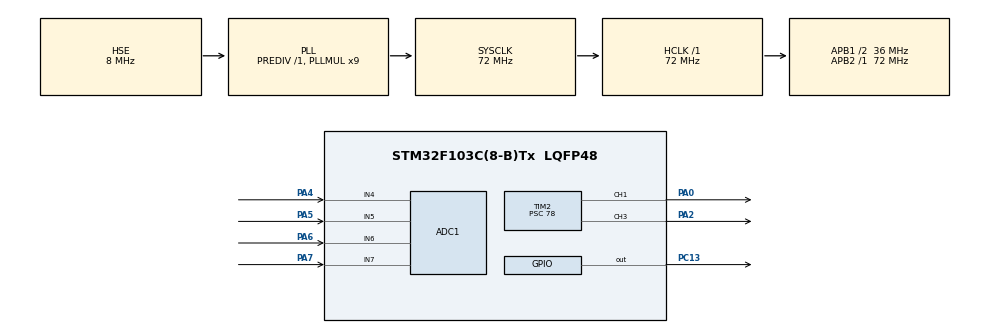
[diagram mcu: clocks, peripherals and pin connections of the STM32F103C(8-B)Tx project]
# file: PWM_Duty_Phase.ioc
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ADC1.Channel-2\#ChannelRegularConversion=ADC_CHANNEL_4
ADC1.Channel-3\#ChannelRegularConversion=ADC_CHANNEL_5
ADC1.Channel-4\#ChannelRegularConversion=ADC_CHANNEL_6
ADC1.Channel-5\#ChannelRegularConversion=ADC_CHANNEL_7
ADC1.ContinuousConvMode=ENABLE
ADC1.NbrOfConversion=4
ADC1.NbrOfConversionFlag=1
ADC1.Rank-2\#ChannelRegularConversion=1
ADC1.Rank-3\#ChannelRegularConversion=2
ADC1.Rank-4\#ChannelRegularConversion=3
ADC1.Rank-5\#ChannelRegularConversion=4
ADC1.SamplingTime-2\#ChannelRegularConversion=ADC_SAMPLETIME_7CYCLES_5
ADC1.SamplingTime-3\#ChannelRegularConversion=ADC_SAMPLETIME_7CYCLES_5
ADC1.SamplingTime-4\#ChannelRegularConversion=ADC_SAMPLETIME_7CYCLES_5
ADC1.SamplingTime-5\#ChannelRegularConversion=ADC_SAMPLETIME_7CYCLES_5
ADC1.master=1
Dma.ADC1.0.Direction=DMA_PERIPH_TO_MEMORY
Dma.ADC1.0.Instance=DMA1_Channel1
Dma.ADC1.0.MemDataAlignment=DMA_MDATAALIGN_WORD
Dma.ADC1.0.MemInc=DMA_MINC_ENABLE
Dma.ADC1.0.Mode=DMA_NORMAL
Dma.ADC1.0.PeriphDataAlignment=DMA_PDATAALIGN_HALFWORD
Dma.ADC1.0.PeriphInc=DMA_PINC_DISABLE
Dma.ADC1.0.Priority=DMA_PRIORITY_LOW
Dma.Request0=ADC1
Mcu.Family=STM32F1
Mcu.Name=STM32F103C(8-B)Tx
Mcu.Package=LQFP48
NVIC.DMA1_Channel1_IRQn=true\:0\:0\:false\:false\:true\:false\:true\:true
NVIC.PriorityGroup=NVIC_PRIORITYGROUP_4
PA0-WKUP.Signal=S_TIM2_CH1_ETR
PA2.Signal=S_TIM2_CH3
PA4.Signal=ADCx_IN4
PA5.Signal=ADCx_IN5
PA6.Signal=ADCx_IN6
PA7.Signal=ADCx_IN7
PC13-TAMPER-RTC.Signal=GPIO_Output
PD0-OSC_IN.Mode=HSE-External-Oscillator
PD0-OSC_IN.Signal=RCC_OSC_IN
PD1-OSC_OUT.Mode=HSE-External-Oscillator
PD1-OSC_OUT.Signal=RCC_OSC_OUT
ProjectManager.HeapSize=0x200
ProjectManager.StackSize=0x400
ProjectManager.TargetToolchain=STM32CubeIDE
RCC.ADCPresc=RCC_ADCPCLK2_DIV6
RCC.AHBFreq_Value=72000000
RCC.APB1CLKDivider=RCC_HCLK_DIV2
RCC.APB1Freq_Value=36000000
RCC.APB1TimFreq_Value=72000000
RCC.APB2Freq_Value=72000000
RCC.APB2TimFreq_Value=72000000
RCC.HCLKFreq_Value=72000000
RCC.PLLMUL=RCC_PLL_MUL9
RCC.PLLSourceVirtual=RCC_PLLSOURCE_HSE
RCC.SYSCLKFreq_VALUE=72000000
RCC.SYSCLKSource=RCC_SYSCLKSOURCE_PLLCLK
RCC.USBFreq_Value=72000000
SH.ADCx_IN4.0=ADC1_IN4,IN4
SH.ADCx_IN5.0=ADC1_IN5,IN5
SH.ADCx_IN6.0=ADC1_IN6,IN6
SH.ADCx_IN7.0=ADC1_IN7,IN7
SH.S_TIM2_CH1_ETR.0=TIM2_CH1,PWM Generation1 CH1
SH.S_TIM2_CH3.0=TIM2_CH3,PWM Generation3 CH3
TIM2.AutoReloadPreload=TIM_AUTORELOAD_PRELOAD_ENABLE
TIM2.Channel-PWM\ Generation1\ CH1=TIM_CHANNEL_1
TIM2.Channel-PWM\ Generation3\ CH3=TIM_CHANNEL_3
TIM2.CounterMode=TIM_COUNTERMODE_CENTERALIGNED1
TIM2.OCPolarity_3=TIM_OCPOLARITY_LOW
TIM2.Period=100
TIM2.Prescaler=78
board=custom

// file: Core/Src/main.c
/* USER CODE BEGIN Header */
/**
  ******************************************************************************
  * @file           : main.c
  * @brief          : Main program body
  ******************************************************************************
  * @attention
  *
  * Copyright (c) 2024 STMicroelectronics.
  * All rights reserved.
  *
  * This software is licensed under terms that can be found in the LICENSE file
  * in the root directory of this software component.
  * If no LICENSE file comes with this software, it is provided AS-IS.
  *
  ******************************************************************************
  */
/* USER CODE END Header */
#include "main.h"

ADC_HandleTypeDef hadc1;
DMA_HandleTypeDef hdma_adc1;

TIM_HandleTypeDef htim2;

void SystemClock_Config(void);
static void MX_GPIO_Init(void);
static void MX_DMA_Init(void);
static void MX_TIM2_Init(void);
static void MX_ADC1_Init(void);
/* USER CODE BEGIN PFP */
int map(int x, int in_min, int in_max, int out_min, int out_max) {
  return (x - in_min) * (out_max - out_min) / (in_max - in_min) + out_min;
}

void setDuty(int duty){
	  TIM2->CCR1 = duty;
	  TIM2->CCR3 = 100 - duty;
}

void setFreq(int frq){
	TIM2->PSC = (36E6 / 100 / frq) - 1;
//	  TIM2->CCR1 = duty;
//	  TIM2->CCR3 = 100 - duty;
}

void HB(){
	HAL_GPIO_TogglePin(GPIOC, GPIO_PIN_13);
}

void HAL_ADC_ConvCpltCallback(ADC_HandleTypeDef* hadc){
	HAL_ADC_Stop_DMA(hadc);
//	HB();
}
void startPWM(){
	  HAL_TIM_PWM_Start(&htim2, TIM_CHANNEL_1);
	  HAL_TIM_PWM_Start(&htim2, TIM_CHANNEL_3);
}
void stopPWM(){
	  HAL_TIM_PWM_Stop(&htim2, TIM_CHANNEL_1);
	  HAL_TIM_PWM_Stop(&htim2, TIM_CHANNEL_3);
}

int adcBuff[4];
static int onTime;
static int onTimeCounter;
static int offTime;
static int offTimeCounter;
/* USER CODE END PFP */

int main(void)
{

  /* MCU Configuration--------------------------------------------------------*/

  /* Reset of all peripherals, Initializes the Flash interface and the Systick. */
  HAL_Init();

  /* Configure the system clock */
  SystemClock_Config();

  /* Initialize all configured peripherals */
  MX_GPIO_Init();
  MX_DMA_Init();
  MX_TIM2_Init();
  MX_ADC1_Init();
  /* USER CODE BEGIN 2 */

  setDuty(44);
  setFreq(9100);
//  HAL_ADC_Start_DMA(&hadc1, &adcBuff, 2);
//  HAL_ADC_GetValue(&hadc1);

  /* USER CODE END 2 */

  /* Infinite loop */
  while (1)
  {

    /* USER CODE BEGIN 3 */
//	  HAL_Delay(100);
	  HAL_ADC_Start_DMA(&hadc1, adcBuff, 4);
	  setFreq(map(adcBuff[0], 100, 4000, 5000, 12000));
	  setDuty(map(adcBuff[1], 100, 4000, 10, 47));
	  onTime = map(adcBuff[2], 100, 4000, 1, 30);
	  offTime = map(adcBuff[3], 100, 4000, 0, 30);
	  startPWM();
	  HB();
	  HAL_Delay(onTime * 100);
	  HB();
	  stopPWM();
//	  if(offTime)
	  HAL_Delay(offTime * 100);
//	  if(onTimeCounter >= onTime){
//		  stopPWM();
//	  }else if(offTimeCounter){
//		  offTimeCounter++;
//		  onTimeCounter = 0;
//	  }
//
//	  if(offTimeCounter >= offTime){
//		  startPWM();
//	  }else if(onTimeCounter){
//		  onTimeCounter++;
//		  offTimeCounter = 0;
//	  }
  }
  /* USER CODE END 3 */
}

void SystemClock_Config(void)
{
  RCC_OscInitTypeDef RCC_OscInitStruct = {0};
  RCC_ClkInitTypeDef RCC_ClkInitStruct = {0};
  RCC_PeriphCLKInitTypeDef PeriphClkInit = {0};

  /** Initializes the RCC Oscillators according to the specified parameters
  * in the RCC_OscInitTypeDef structure.
  */
  RCC_OscInitStruct.OscillatorType = RCC_OSCILLATORTYPE_HSE;
  RCC_OscInitStruct.HSEState = RCC_HSE_ON;
  RCC_OscInitStruct.HSEPredivValue = RCC_HSE_PREDIV_DIV1;
  RCC_OscInitStruct.HSIState = RCC_HSI_ON;
  RCC_OscInitStruct.PLL.PLLState = RCC_PLL_ON;
  RCC_OscInitStruct.PLL.PLLSource = RCC_PLLSOURCE_HSE;
  RCC_OscInitStruct.PLL.PLLMUL = RCC_PLL_MUL9;
  if (HAL_RCC_OscConfig(&RCC_OscInitStruct) != HAL_OK)
  {
    Error_Handler();
  }

  /** Initializes the CPU, AHB and APB buses clocks
  */
  RCC_ClkInitStruct.ClockType = RCC_CLOCKTYPE_HCLK|RCC_CLOCKTYPE_SYSCLK
                              |RCC_CLOCKTYPE_PCLK1|RCC_CLOCKTYPE_PCLK2;
  RCC_ClkInitStruct.SYSCLKSource = RCC_SYSCLKSOURCE_PLLCLK;
  RCC_ClkInitStruct.AHBCLKDivider = RCC_SYSCLK_DIV1;
  RCC_ClkInitStruct.APB1CLKDivider = RCC_HCLK_DIV2;
  RCC_ClkInitStruct.APB2CLKDivider = RCC_HCLK_DIV1;

  if (HAL_RCC_ClockConfig(&RCC_ClkInitStruct, FLASH_LATENCY_2) != HAL_OK)
  {
    Error_Handler();
  }
  PeriphClkInit.PeriphClockSelection = RCC_PERIPHCLK_ADC;
  PeriphClkInit.AdcClockSelection = RCC_ADCPCLK2_DIV6;
  if (HAL_RCCEx_PeriphCLKConfig(&PeriphClkInit) != HAL_OK)
  {
    Error_Handler();
  }
}

static void MX_ADC1_Init(void)
{

  ADC_ChannelConfTypeDef sConfig = {0};

  /** Common config
  */
  hadc1.Instance = ADC1;
  hadc1.Init.ScanConvMode = ADC_SCAN_ENABLE;
  hadc1.Init.ContinuousConvMode = ENABLE;
  hadc1.Init.DiscontinuousConvMode = DISABLE;
  hadc1.Init.ExternalTrigConv = ADC_SOFTWARE_START;
  hadc1.Init.DataAlign = ADC_DATAALIGN_RIGHT;
  hadc1.Init.NbrOfConversion = 4;
  if (HAL_ADC_Init(&hadc1) != HAL_OK)
  {
    Error_Handler();
  }

  /** Configure Regular Channel
  */
  sConfig.Channel = ADC_CHANNEL_4;
  sConfig.Rank = ADC_REGULAR_RANK_1;
  sConfig.SamplingTime = ADC_SAMPLETIME_7CYCLES_5;
  if (HAL_ADC_ConfigChannel(&hadc1, &sConfig) != HAL_OK)
  {
    Error_Handler();
  }

  /** Configure Regular Channel
  */
  sConfig.Channel = ADC_CHANNEL_5;
  sConfig.Rank = ADC_REGULAR_RANK_2;
  if (HAL_ADC_ConfigChannel(&hadc1, &sConfig) != HAL_OK)
  {
    Error_Handler();
  }

  /** Configure Regular Channel
  */
  sConfig.Channel = ADC_CHANNEL_6;
  sConfig.Rank = ADC_REGULAR_RANK_3;
  if (HAL_ADC_ConfigChannel(&hadc1, &sConfig) != HAL_OK)
  {
    Error_Handler();
  }

  /** Configure Regular Channel
  */
  sConfig.Channel = ADC_CHANNEL_7;
  sConfig.Rank = ADC_REGULAR_RANK_4;
  if (HAL_ADC_ConfigChannel(&hadc1, &sConfig) != HAL_OK)
  {
    Error_Handler();
  }

}

static void MX_TIM2_Init(void)
{

  TIM_MasterConfigTypeDef sMasterConfig = {0};
  TIM_OC_InitTypeDef sConfigOC = {0};

  htim2.Instance = TIM2;
  htim2.Init.Prescaler = 78;
  htim2.Init.CounterMode = TIM_COUNTERMODE_CENTERALIGNED1;
  htim2.Init.Period = 100;
  htim2.Init.ClockDivision = TIM_CLOCKDIVISION_DIV1;
  htim2.Init.AutoReloadPreload = TIM_AUTORELOAD_PRELOAD_ENABLE;
  if (HAL_TIM_PWM_Init(&htim2) != HAL_OK)
  {
    Error_Handler();
  }
  sMasterConfig.MasterOutputTrigger = TIM_TRGO_RESET;
  sMasterConfig.MasterSlaveMode = TIM_MASTERSLAVEMODE_DISABLE;
  if (HAL_TIMEx_MasterConfigSynchronization(&htim2, &sMasterConfig) != HAL_OK)
  {
    Error_Handler();
  }
  sConfigOC.OCMode = TIM_OCMODE_PWM1;
  sConfigOC.Pulse = 0;
  sConfigOC.OCPolarity = TIM_OCPOLARITY_HIGH;
  sConfigOC.OCFastMode = TIM_OCFAST_DISABLE;
  if (HAL_TIM_PWM_ConfigChannel(&htim2, &sConfigOC, TIM_CHANNEL_1) != HAL_OK)
  {
    Error_Handler();
  }
  sConfigOC.OCPolarity = TIM_OCPOLARITY_LOW;
  if (HAL_TIM_PWM_ConfigChannel(&htim2, &sConfigOC, TIM_CHANNEL_3) != HAL_OK)
  {
    Error_Handler();
  }
  HAL_TIM_MspPostInit(&htim2);

}

static void MX_DMA_Init(void)
{

  /* DMA controller clock enable */
  __HAL_RCC_DMA1_CLK_ENABLE();

  /* DMA interrupt init */
  /* DMA1_Channel1_IRQn interrupt configuration */
  HAL_NVIC_SetPriority(DMA1_Channel1_IRQn, 0, 0);
  HAL_NVIC_EnableIRQ(DMA1_Channel1_IRQn);

}

static void MX_GPIO_Init(void)
{
  GPIO_InitTypeDef GPIO_InitStruct = {0};

  /* GPIO Ports Clock Enable */
  __HAL_RCC_GPIOC_CLK_ENABLE();
  __HAL_RCC_GPIOD_CLK_ENABLE();
  __HAL_RCC_GPIOA_CLK_ENABLE();

  /*Configure GPIO pin Output Level */
  HAL_GPIO_WritePin(GPIOC, GPIO_PIN_13, GPIO_PIN_RESET);

  /*Configure GPIO pin : PC13 */
  GPIO_InitStruct.Pin = GPIO_PIN_13;
  GPIO_InitStruct.Mode = GPIO_MODE_OUTPUT_PP;
  GPIO_InitStruct.Pull = GPIO_NOPULL;
  GPIO_InitStruct.Speed = GPIO_SPEED_FREQ_LOW;
  HAL_GPIO_Init(GPIOC, &GPIO_InitStruct);

}

void Error_Handler(void)
{
  __disable_irq();
  while (1)
  {
  }
}
